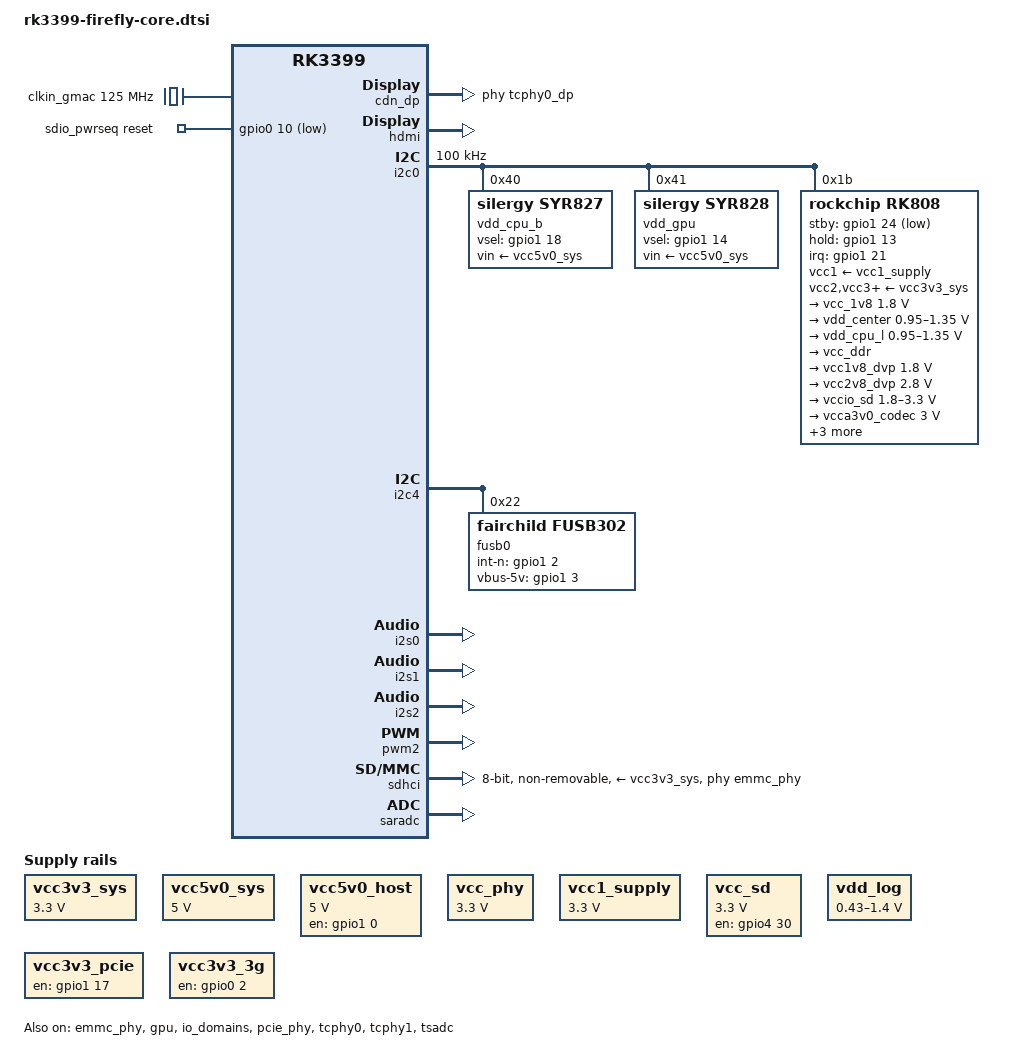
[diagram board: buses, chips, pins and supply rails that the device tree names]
/*
 * Copyright (c) 2016 Fuzhou Rockchip Electronics Co., Ltd
 *
 * This file is dual-licensed: you can use it either under the terms
 * of the GPL or the X11 license, at your option. Note that this dual
 * licensing only applies to this file, and not this project as a
 * whole.
 *
 *  a) This file is free software; you can redistribute it and/or
 *     modify it under the terms of the GNU General Public License as
 *     published by the Free Software Foundation; either version 2 of the
 *     License, or (at your option) any later version.
 *
 *     This file is distributed in the hope that it will be useful,
 *     but WITHOUT ANY WARRANTY; without even the implied warranty of
 *     MERCHANTABILITY or FITNESS FOR A PARTICULAR PURPOSE.  See the
 *     GNU General Public License for more details.
 *
 * Or, alternatively,
 *
 *  b) Permission is hereby granted, free of charge, to any person
 *     obtaining a copy of this software and associated documentation
 *     files (the "Software"), to deal in the Software without
 *     restriction, including without limitation the rights to use,
 *     copy, modify, merge, publish, distribute, sublicense, and/or
 *     sell copies of the Software, and to permit persons to whom the
 *     Software is furnished to do so, subject to the following
 *     conditions:
 *
 *     The above copyright notice and this permission notice shall be
 *     included in all copies or substantial portions of the Software.
 *
 *     THE SOFTWARE IS PROVIDED "AS IS", WITHOUT WARRANTY OF ANY KIND,
 *     EXPRESS OR IMPLIED, INCLUDING BUT NOT LIMITED TO THE WARRANTIES
 *     OF MERCHANTABILITY, FITNESS FOR A PARTICULAR PURPOSE AND
 *     NONINFRINGEMENT. IN NO EVENT SHALL THE AUTHORS OR COPYRIGHT
 *     HOLDERS BE LIABLE FOR ANY CLAIM, DAMAGES OR OTHER LIABILITY,
 *     WHETHER IN AN ACTION OF CONTRACT, TORT OR OTHERWISE, ARISING
 *     FROM, OUT OF OR IN CONNECTION WITH THE SOFTWARE OR THE USE OR
 *     OTHER DEALINGS IN THE SOFTWARE.
 */

#include "rk3399.dtsi"
#include "rk3399-opp.dtsi"
#include "rk3399-linux.dtsi"
#include <dt-bindings/pwm/pwm.h>

/ {
	compatible = "rockchip,rk3399-firefly-core", "rockchip,rk3399";

	backlight: backlight {
		status = "disabled";
		compatible = "pwm-backlight";
		pwms = <&pwm0 0 25000 0>;
		brightness-levels = <
			  0   1   2   3   4   5   6   7
			  8   9  10  11  12  13  14  15
			 16  17  18  19  20  21  22  23
			 24  25  26  27  28  29  30  31
			 32  33  34  35  36  37  38  39
			 40  41  42  43  44  45  46  47
			 48  49  50  51  52  53  54  55
			 56  57  58  59  60  61  62  63
			 64  65  66  67  68  69  70  71
			 72  73  74  75  76  77  78  79
			 80  81  82  83  84  85  86  87
			 88  89  90  91  92  93  94  95
			 96  97  98  99 100 101 102 103
			104 105 106 107 108 109 110 111
			112 113 114 115 116 117 118 119
			120 121 122 123 124 125 126 127
			128 129 130 131 132 133 134 135
			136 137 138 139 140 141 142 143
			144 145 146 147 148 149 150 151
			152 153 154 155 156 157 158 159
			160 161 162 163 164 165 166 167
			168 169 170 171 172 173 174 175
			176 177 178 179 180 181 182 183
			184 185 186 187 188 189 190 191
			192 193 194 195 196 197 198 199
			200 201 202 203 204 205 206 207
			208 209 210 211 212 213 214 215
			216 217 218 219 220 221 222 223
			224 225 226 227 228 229 230 231
			232 233 234 235 236 237 238 239
			240 241 242 243 244 245 246 247
			248 249 250 251 252 253 254 255>;
		default-brightness-level = <200>;
	};

	clkin_gmac: external-gmac-clock {
		compatible = "fixed-clock";
		clock-frequency = <125000000>;
		clock-output-names = "clkin_gmac";
		#clock-cells = <0>;
	};

	dw_hdmi_audio: dw-hdmi-audio {
		status = "disabled";
		compatible = "rockchip,dw-hdmi-audio";
		#sound-dai-cells = <0>;
	};

	hdmi_sound: hdmi-sound {
		status = "disabled";
		compatible = "simple-audio-card";
		simple-audio-card,format = "i2s";
		simple-audio-card,mclk-fs = <256>;
		simple-audio-card,name = "rockchip,hdmi";

		simple-audio-card,cpu {
			sound-dai = <&i2s2>;
		};
		simple-audio-card,codec {
			sound-dai = <&hdmi>;
		};
	};

	hdmi_dp_sound: hdmi-dp-sound {
		status = "disabled";
		compatible = "rockchip,rk3399-hdmi-dp";
		rockchip,cpu = <&i2s2>;
		rockchip,codec = <&hdmi>, <&cdn_dp>;
	};

	sdio_pwrseq: sdio-pwrseq {
		compatible = "mmc-pwrseq-simple";
		clocks = <&rk808 1>;
		clock-names = "ext_clock";
		pinctrl-names = "default";
		pinctrl-0 = <&wifi_enable_h>;

		/*
		 * On the module itself this is one of these (depending
		 * on the actual card populated):
		 * - SDIO_RESET_L_WL_REG_ON
		 * - PDN (power down when low)
		 */
		reset-gpios = <&gpio0 10 GPIO_ACTIVE_LOW>; /* GPIO0_B2 */
	};

	vcc3v3_sys: vcc3v3-sys {
		compatible = "regulator-fixed";
		regulator-name = "vcc3v3-sys";
		regulator-always-on;
		regulator-boot-on;
		regulator-min-microvolt = <3300000>;
		regulator-max-microvolt = <3300000>;
		status = "okay";
	};

	vcc5v0_sys: vcc5v0-sys {
		compatible = "regulator-fixed";
		regulator-name = "vcc5v0-sys";
		regulator-always-on;
		regulator-boot-on;
		regulator-min-microvolt = <5000000>;
		regulator-max-microvolt = <5000000>;
		status = "okay";
	};

	vcc5v0_host: vcc5v0-host-regulator {
		compatible = "regulator-fixed";
		enable-active-high;
		gpio = <&gpio1 0 GPIO_ACTIVE_HIGH>;
		pinctrl-names = "default";
		pinctrl-0 = <&host_vbus_drv>;
		regulator-name = "vcc5v0_host";
		regulator-always-on;
		regulator-min-microvolt = <5000000>;
		regulator-max-microvolt = <5000000>;
	};

	vcc_phy: vcc-phy-regulator {
		compatible = "regulator-fixed";
		regulator-name = "vcc-phy-regulator";
		regulator-always-on;
		regulator-boot-on;
		regulator-min-microvolt = <3300000>;
		regulator-max-microvolt = <3300000>;
		status = "okay";
	};

	vcc1_supply: vcc1-supply {
		compatible = "regulator-fixed";
		regulator-name = "vcc1-supply";
		regulator-always-on;
		regulator-boot-on;
		regulator-min-microvolt = <3300000>;
		regulator-max-microvolt = <3300000>;
		status = "okay";
	};

	
	vcc_sd: vcc-sd {
		compatible = "regulator-fixed";
		enable-active-high;
		gpio = <&gpio4 30 GPIO_ACTIVE_HIGH>;
		pinctrl-names = "default";
		pinctrl-0 = <&vcc_sd_h>;
		regulator-name = "vcc_sd";
		regulator-min-microvolt = <3300000>;
		regulator-max-microvolt = <3300000>;
	};

	vdd_log: vdd-log {
		compatible = "pwm-regulator";
		pwms = <&pwm2 0 25000 1>;
		regulator-name = "vdd_log";
		regulator-min-microvolt = <430000>;
		regulator-max-microvolt = <1400000>;
		regulator-always-on;
		regulator-boot-on;

		/* for rockchip boot on */
		rockchip,pwm_id= <2>;
		rockchip,pwm_voltage = <1100000>;
	};

	vcc3v3_pcie: vcc3v3-pcie-regulator {
		compatible = "regulator-fixed";
		enable-active-high;
		gpio = <&gpio1 17 GPIO_ACTIVE_HIGH>;
		pinctrl-names = "default";
		pinctrl-0 = <&pcie_drv>;
		regulator-name = "vcc3v3_pcie";
		regulator-always-on;
		regulator-boot-on;
	};

	vcc3v3_3g: vcc3v3-3g-regulator {
		compatible = "regulator-fixed";
		enable-active-high;
		gpio = <&gpio0 2 GPIO_ACTIVE_HIGH>;
		pinctrl-names = "default";
		pinctrl-0 = <&pcie_3g_drv>;
		regulator-name = "vcc3v3_3g";
		regulator-always-on;
		regulator-boot-on;
	};
};

&cdn_dp {
	status = "okay";
	extcon = <&fusb0>;
	phys = <&tcphy0_dp>;
};

&cpu_l0 {
	cpu-supply = <&vdd_cpu_l>;
};

&cpu_l1 {
	cpu-supply = <&vdd_cpu_l>;
};

&cpu_l2 {
	cpu-supply = <&vdd_cpu_l>;
};

&cpu_l3 {
	cpu-supply = <&vdd_cpu_l>;
};

&cpu_b0 {
	cpu-supply = <&vdd_cpu_b>;
};

&cpu_b1 {
	cpu-supply = <&vdd_cpu_b>;
};

&emmc_phy {
	status = "okay";
	clocks = <&cru SCLK_EMMC>;
	clock-names = "emmcclk";
};

&gmac {
	phy-supply = <&vcc_phy>;
	phy-mode = "rgmii";
	clock_in_out = "input";
	snps,force_thresh_dma_mode;
	snps,reset-gpio = <&gpio3 15 GPIO_ACTIVE_LOW>;
	snps,reset-active-low;
	snps,reset-delays-us = <0 10000 50000>;
	assigned-clocks = <&cru SCLK_RMII_SRC>;
	assigned-clock-parents = <&clkin_gmac>;
	pinctrl-names = "default";
	pinctrl-0 = <&rgmii_pins>;
	tx_delay = <0x28>;
	rx_delay = <0x1B>;
	status = "disabled";
};

&gpu {
	status = "okay";
	mali-supply = <&vdd_gpu>;
};

&hdmi {
	#address-cells = <1>;
	#size-cells = <0>;
	#sound-dai-cells = <0>;
	ddc-i2c-scl-high-time-ns = <9625>;
	ddc-i2c-scl-low-time-ns = <10000>;
	status = "okay";
};

&i2c0 {
	status = "okay";
	i2c-scl-rising-time-ns = <300>;  /* 增加上升时间，解决信号完整性问题 */
	i2c-scl-falling-time-ns = <30>;   /* 增加下降时间 */
	clock-frequency = <100000>;       /* 降低频率提高稳定性 */

	vdd_cpu_b: syr827@40 {
		compatible = "silergy,syr827";
		reg = <0x40>;
		vin-supply = <&vcc5v0_sys>;
		regulator-compatible = "fan53555-regulator";
		regulator-name = "vdd_cpu_b";
		pinctrl-0 = <&vsel1_gpio>;
		vsel-gpios = <&gpio1 18 GPIO_ACTIVE_HIGH>;
		regulator-min-microvolt = <712500>;
		regulator-max-microvolt = <1500000>;
		regulator-ramp-delay = <1000>;
		fcs,suspend-voltage-selector = <1>;
		regulator-always-on;
		regulator-boot-on;
		regulator-initial-state = <3>;
			regulator-state-mem {
			regulator-off-in-suspend;
		};
	};

	vdd_gpu: syr828@41 {
		compatible = "silergy,syr828";
		reg = <0x41>;
		vin-supply = <&vcc5v0_sys>;
		regulator-compatible = "fan53555-regulator";
		regulator-name = "vdd_gpu";
		pinctrl-0 = <&vsel2_gpio>;
		vsel-gpios = <&gpio1 14 0>;
		regulator-min-microvolt = <712500>;
		regulator-max-microvolt = <1500000>;
		regulator-ramp-delay = <1000>;
		fcs,suspend-voltage-selector = <1>;
		regulator-always-on;
		regulator-boot-on;
		regulator-initial-state = <3>;
			regulator-state-mem {
			regulator-off-in-suspend;
		};
	};

	rk808: pmic@1b {
		compatible = "rockchip,rk808";
		reg = <0x1b>;
		interrupt-parent = <&gpio1>;
		interrupts = <21 IRQ_TYPE_LEVEL_LOW>;
		pmic,stby-gpio = <&gpio1 24 GPIO_ACTIVE_LOW>;
		pmic,hold-gpio = <&gpio1 13 GPIO_ACTIVE_HIGH>;
		pinctrl-names = "default";
		pinctrl-0 = <&pmic_int_l &pmic_dvs2 &pmic_stby &pmic_hold>;
		rockchip,system-power-controller;
		wakeup-source;
		#clock-cells = <1>;
		clock-output-names = "xin32k", "rk808-clkout2";

		vcc1-supply = <&vcc1_supply>;
		vcc2-supply = <&vcc3v3_sys>;
		vcc3-supply = <&vcc3v3_sys>;
		vcc4-supply = <&vcc3v3_sys>;
		vcc6-supply = <&vcc3v3_sys>;
		vcc7-supply = <&vcc3v3_sys>;
		vcc8-supply = <&vcc3v3_sys>;
		vcc9-supply = <&vcc3v3_sys>;
		vcc10-supply = <&vcc3v3_sys>;
		vcc11-supply = <&vcc3v3_sys>;
		vcc12-supply = <&vcc3v3_sys>;
		/* vddio-supply should NOT reference vcc_1v8 as it creates a circular dependency */
		/* vddio is the PMIC's own IO power, should use external supply or be omitted */
		vddio-supply = <&vcc3v3_sys>;

		/* 增强调节器配置的可靠性 */
		regulators {
			/* DCDC_REG4 (vcc_1v8) - critical regulator used by many devices */
			vcc_1v8: DCDC_REG4 {
				regulator-always-on;
				regulator-boot-on;
				regulator-min-microvolt = <1800000>;
				regulator-max-microvolt = <1800000>;
				regulator-name = "vcc_1v8";
				/* 确保优先初始化 */
				regulator-ramp-delay = <1000>;
				regulator-state-mem {
					regulator-on-in-suspend;
					regulator-suspend-microvolt = <1800000>;
				};
			};

			vdd_center: DCDC_REG1 {
				regulator-always-on;
				regulator-boot-on;
				regulator-min-microvolt = <950000>;  /* 调整默认电压避免启动失败 */
				regulator-max-microvolt = <1350000>;
				regulator-ramp-delay = <3000>;  /* 减少ramp延迟 */
				regulator-name = "vdd_center";
				regulator-state-mem {
					regulator-off-in-suspend;
				};
			};

			vdd_cpu_l: DCDC_REG2 {
				regulator-always-on;
				regulator-boot-on;
				regulator-min-microvolt = <950000>;  /* 调整默认电压避免启动失败 */
				regulator-max-microvolt = <1350000>;
				regulator-ramp-delay = <3000>;  /* 减少ramp延迟 */
				regulator-name = "vdd_cpu_l";
				regulator-state-mem {
					regulator-off-in-suspend;
				};
			};

			vcc_ddr: DCDC_REG3 {
				regulator-always-on;
				regulator-boot-on;
				regulator-name = "vcc_ddr";
				regulator-state-mem {
					regulator-on-in-suspend;
				};
			};

			vcc1v8_dvp: LDO_REG1 {
				regulator-name = "vcc1v8_dvp";
				regulator-always-on;
				regulator-boot-on;
				regulator-min-microvolt = <1800000>;
				regulator-max-microvolt = <1800000>;
				regulator-state-mem {
					regulator-off-in-suspend;
				};
			};

			vcc2v8_dvp: LDO_REG2 {
				regulator-always-on;
				regulator-boot-on;
				regulator-min-microvolt = <2800000>;
				regulator-max-microvolt = <2800000>;
				regulator-name = "vcc2v8_dvp";
				regulator-state-mem {
					regulator-off-in-suspend;
				};
			};
		};

		vccio_sd: LDO_REG4 {
			regulator-always-on;
			regulator-boot-on;
			regulator-min-microvolt = <1800000>;
			regulator-max-microvolt = <3300000>;
			regulator-name = "vccio_sd";
			regulator-state-mem {
				regulator-on-in-suspend;
				regulator-suspend-microvolt = <3300000>;
			};
		};

		vcca3v0_codec: LDO_REG5 {
			regulator-always-on;
			regulator-boot-on;
			regulator-min-microvolt = <3000000>;
			regulator-max-microvolt = <3000000>;
			regulator-name = "vcca3v0_codec";
			regulator-state-mem {
				regulator-off-in-suspend;
			};
		};

		vcc_1v5: LDO_REG6 {
			regulator-always-on;
			regulator-boot-on;
			regulator-min-microvolt = <1500000>;
			regulator-max-microvolt = <1500000>;
			regulator-name = "vcc_1v5";
			regulator-state-mem {
				regulator-on-in-suspend;
				regulator-suspend-microvolt = <1500000>;
			};
		};

		vcca1v8_codec: LDO_REG7 {
			regulator-always-on;
			regulator-boot-on;
			regulator-min-microvolt = <1800000>;
			regulator-max-microvolt = <1800000>;
			regulator-name = "vcca1v8_codec";
			regulator-state-mem {
				regulator-off-in-suspend;
			};
		};

		vcc_3v0: LDO_REG8 {
			regulator-always-on;
			regulator-boot-on;
			regulator-min-microvolt = <3000000>;
			regulator-max-microvolt = <3000000>;
			regulator-name = "vcc_3v0";
			regulator-state-mem {
				regulator-on-in-suspend;
				regulator-suspend-microvolt = <3000000>;
			};
		};

		vcc3v3_s3: SWITCH_REG1 {
			regulator-always-on;
			regulator-boot-on;
			regulator-name = "vcc3v3_s3";
			regulator-state-mem {
				regulator-off-in-suspend;
			};
		};

		vcc3v3_s0: SWITCH_REG2 {
			regulator-always-on;
			regulator-boot-on;
			regulator-name = "vcc3v3_s0";
			regulator-state-mem {
				regulator-off-in-suspend;
			};
		};
	};
};

/* i2c0配置已在上面定义（第310行），此处删除重复定义 */

&i2c4 {
	status = "okay";
	i2c-scl-rising-time-ns = <475>;
	i2c-scl-falling-time-ns = <26>;

	fusb0: fusb30x@22 {
		compatible = "fairchild,fusb302";
		reg = <0x22>;
		pinctrl-names = "default";
		pinctrl-0 = <&fusb0_int>;
		int-n-gpios = <&gpio1 2 GPIO_ACTIVE_HIGH>;
		vbus-5v-gpios = <&gpio1 3 GPIO_ACTIVE_HIGH>;
		status = "okay";
	};
};

&i2s0 {
	rockchip,i2s-broken-burst-len;
	rockchip,capture-channels = <8>;
	rockchip,playback-channels = <8>;
	#sound-dai-cells = <0>;
	status = "okay";
};

&i2s1 {
	rockchip,i2s-broken-burst-len;
	rockchip,playback-channels = <2>;
	rockchip,capture-channels = <2>;
	assigned-clocks = <&cru SCLK_I2S1_DIV>;
	assigned-clock-parents = <&cru PLL_GPLL>;
	#sound-dai-cells = <0>;
	status = "okay";
};

&i2s2 {
	#sound-dai-cells = <0>;
	dmas = <&dmac_bus 4>;
	dma-names = "tx";
	status = "okay";
};

&io_domains {
	status = "okay";

	bt656-supply = <&vcc1v8_dvp>;		/* bt656_gpio2ab_ms */
	audio-supply = <&vcca1v8_codec>;	/* audio_gpio3d4a_ms */
	sdmmc-supply = <&vccio_sd>;		/* sdmmc_gpio4b_ms */
	gpio1830-supply = <&vcc_3v0>;		/* gpio1833_gpio4cd_ms */
};

&pcie_phy {
	status = "okay";
};

&pcie0 {
	ep-gpios = <&gpio4 25 GPIO_ACTIVE_HIGH>;
	num-lanes = <4>;
	status = "disabled";
};

&pmu_io_domains {
	status = "okay";
	pmu1830-supply = <&vcc_3v0>;
};

&pwm0 {
	status = "disabled";
};

&pwm1 {
	status = "disabled";
};

&pwm2 {
	status = "okay";
	pinctrl-names = "active";
	pinctrl-0 = <&pwm2_pin_pull_down>;
};

&sdhci {
	status = "okay";
	
	/* eMMC PHY 引用 - 必需 */
	phys = <&emmc_phy>;
	phy-names = "phy_arasan";
	
	/* eMMC 控制器电源供应 - 使用标准regulator */
	vmmc-supply = <&vcc3v3_sys>;
	vqmmc-supply = <&vcc_1v8>;
	bus-width = <8>;
	cap-mmc-highspeed;
	non-removable;
	mmc-hs200-1_8v;
	mmc-hs400-1_8v;
	
	/* eMMC 特定配置 - 确保自动扫描 */
	supports-emmc;
	disable-wp;
	broken-cd;
	keep-power-in-suspend;
};

&sdio0 {
	status = "disabled";
	clock-frequency = <50000000>;
	clock-freq-min-max = <200000 50000000>;
	supports-sdio;
	bus-width = <4>;
	disable-wp;
	cap-sd-highspeed;
	cap-sdio-irq;
	keep-power-in-suspend;
	mmc-pwrseq = <&sdio_pwrseq>;
	non-removable;
	num-slots = <1>;
	pinctrl-names = "default";
	pinctrl-0 = <&sdio0_bus4 &sdio0_cmd &sdio0_clk>;
	sd-uhs-sdr104;
	
	/* SDIO 电源供应 - 使用标准regulator */
	vmmc-supply = <&vcc3v3_sys>;
	vqmmc-supply = <&vcc_1v8>;
};

&sdmmc {
	status = "disabled";
	clock-frequency = <150000000>;
	clock-freq-min-max = <100000 150000000>;
	supports-sd;
	bus-width = <4>;
	cap-mmc-highspeed;
	cap-sd-highspeed;
	disable-wp;
	num-slots = <1>;
	sd-uhs-sdr104;
	
	/* SDMMC 电源供应 - 使用标准regulator */
	/* vccio_sd (LDO_REG4) 是专门为SDMMC设计的IO电源 */
	vmmc-supply = <&vcc3v3_sys>;
	vqmmc-supply = <&vccio_sd>;
	pinctrl-names = "default";
	pinctrl-0 = <&sdmmc_clk &sdmmc_cmd &sdmmc_cd &sdmmc_bus4>;
};

&saradc {
	status = "okay";
};

&tcphy0 {
	extcon = <&fusb0>;
	status = "okay";
};

&tcphy1 {
	status = "okay";
};

&tsadc {
	/* tshut mode 0:CRU 1:GPIO */
	rockchip,hw-tshut-mode = <1>;
	/* tshut polarity 0:LOW 1:HIGH */
	rockchip,hw-tshut-polarity = <1>;
	status = "okay";
};

&u2phy0 {
	status = "disabled";
	phy-supply = <&vcc5v0_sys>;  /* 添加PHY供应器解决依赖问题 */
	extcon = <&fusb0>;
	
	/* Fix USB2 PHY interrupt configuration to prevent RCU stall */
	interrupt-parent = <&gic>;
	interrupts = <GIC_SPI 69 IRQ_TYPE_LEVEL_HIGH 0>;

	u2phy0_otg: otg-port {
		status = "disabled";
	};

	u2phy0_host: host-port {
		phy-supply = <&vcc5v0_host>;
		status = "disabled";
	};
};

&u2phy1 {
	status = "disabled";
	phy-supply = <&vcc5v0_sys>;  /* 添加PHY供应器解决依赖问题 */
	
	/* Fix USB2 PHY interrupt configuration to prevent RCU stall */
	interrupt-parent = <&gic>;
	interrupts = <GIC_SPI 70 IRQ_TYPE_LEVEL_HIGH 0>;

	u2phy1_otg: otg-port {
		status = "disabled";
	};

	u2phy1_host: host-port {
		phy-supply = <&vcc5v0_host>;
		status = "disabled";
	};
};

&usbdrd3_0 {
	status = "disabled";
	extcon = <&fusb0>;
};

&usbdrd3_1 {
	status = "disabled";
};

&usbdrd_dwc3_0 {
	status = "disabled";
	dr_mode = "otg";
};

&usbdrd_dwc3_1 {
	status = "disabled";
};

&usb_host0_ehci {
	status = "disabled";
};

&usb_host0_ohci {
	status = "disabled";
};

&usb_host1_ehci {
	status = "disabled";
};

&usb_host1_ohci {
	status = "disabled";
};

&pinctrl {
	pmic {
		pmic_int_l: pmic-int-l {
			rockchip,pins =
				<1 21 RK_FUNC_GPIO &pcfg_pull_up>;
		};

		pmic_dvs2: pmic-dvs2 {
			rockchip,pins =
				<1 18 RK_FUNC_GPIO &pcfg_pull_down>;
		};

		pmic_stby: pmic-stby {
			rockchip,pins =
				<1 24 RK_FUNC_GPIO &pcfg_pull_up>;
		};

		pmic_hold: pmic-hold{
			rockchip,pins =
				<1 13 RK_FUNC_GPIO &pcfg_pull_up>;
		};

		vsel1_gpio: vsel1-gpio {
			rockchip,pins =
				<1 18 RK_FUNC_GPIO &pcfg_pull_down>;
		};

		vsel2_gpio: vsel2-gpio {
			rockchip,pins =
				<1 14 RK_FUNC_GPIO &pcfg_pull_down>;
		};
	};

	fusb30x {
		fusb0_int: fusb0-int {
			rockchip,pins = <1 2 RK_FUNC_GPIO &pcfg_pull_up>;
		};
	};

	pcie {
		pcie_drv: pcie-drv {
			rockchip,pins = <1 17 RK_FUNC_GPIO &pcfg_pull_none>;
		};

		pcie_3g_drv: pcie-3g-drv {
			rockchip,pins = <0 2 RK_FUNC_GPIO &pcfg_pull_up>;
		};
	};

	sdio-pwrseq {
		wifi_enable_h: wifi-enable-h {
			rockchip,pins = <0 10 RK_FUNC_GPIO &pcfg_pull_none>;
		};
	};

	/* USB2 - 暂时禁用以解决启动问题 */
        usb2 {
                status = "disabled";
        };

	vcc_sd {
		vcc_sd_h: vcc-sd-h {
			rockchip,pins =
				<4 30 RK_FUNC_GPIO &pcfg_pull_up>;
		};
	};

	usb {
		host_vbus_drv: host-vbus-drv {
			rockchip,pins = <1 0 RK_FUNC_GPIO &pcfg_pull_none>;
		};
	};
};
